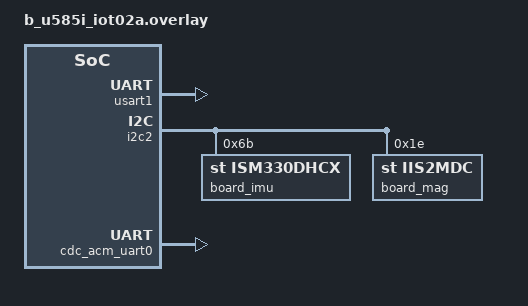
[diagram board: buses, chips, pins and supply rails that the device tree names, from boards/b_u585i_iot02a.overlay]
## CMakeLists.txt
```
cmake_minimum_required(VERSION 3.13.1)
list(APPEND ZEPHYR_EXTRA_MODULES ${CMAKE_CURRENT_SOURCE_DIR}/micro_ros_zephyr_module/modules/libmicroros)
find_package(Zephyr REQUIRED HINTS $ENV{ZEPHYR_BASE})
project(step_ros)

target_sources(app PRIVATE src/main.c)
target_sources(app PRIVATE src/sensor_node.c)
target_sources(app PRIVATE src/imu_data_producer.c)
target_sources(app PRIVATE src/zsl_fusion_config.c)
```

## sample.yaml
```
sample:
  name: Secure telemetry pipeline ROS2 bridge sample
tests:
  test:
    tags: step
```

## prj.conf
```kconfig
CONFIG_PRINTK=y
CONFIG_SERIAL=y
CONFIG_CBPRINTF_FP_SUPPORT=y

CONFIG_SHELL=y
CONFIG_SHELL_HISTORY=y
CONFIG_SHELL_VT100_COLORS=y

CONFIG_LOG=y
CONFIG_LOG_DEFAULT_LEVEL=4

CONFIG_STEP=y
CONFIG_STEP_PROC_MGR_STACK_SIZE=8192
CONFIG_STEP_POOL_SIZE=4096
CONFIG_MAIN_STACK_SIZE=8192
CONFIG_STEP_PROC_MGR_PRIORITY=-4

# Sets the I2C plus sensor subsystem
CONFIG_I2C=y
CONFIG_I2C_SHELL=y
CONFIG_SHELL=y
CONFIG_SENSOR=y

# For the zephyr scientific library
CONFIG_ZSL=y
CONFIG_FPU=y
CONFIG_NEWLIB_LIBC=y

#Micro ROS settings
CONFIG_MICROROS=y

CONFIG_NEWLIB_LIBC=y
CONFIG_NEWLIB_LIBC_NANO=n
CONFIG_PTHREAD_IPC=n

CONFIG_POSIX_API=y
CONFIG_APP_LINK_WITH_POSIX_SUBSYS=y
CONFIG_POSIX_CLOCK=y

CONFIG_STDOUT_CONSOLE=y
CONFIG_SERIAL=y
CONFIG_UART_INTERRUPT_DRIVEN=y
CONFIG_UART_LINE_CTRL=y
CONFIG_RING_BUFFER=y

# uses micro ROS over USB:
CONFIG_MICROROS_TRANSPORT_SERIAL=n
CONFIG_MICROROS_TRANSPORT_SERIAL_USB=y
```

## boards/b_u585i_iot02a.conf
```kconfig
CONFIG_ISM330DHCX=y
CONFIG_IIS2MDC=y
CONFIG_IIS2MDC_TRIGGER_NONE=y

CONFIG_USB_DEVICE_STACK=y
CONFIG_USB_DEVICE_PRODUCT="STeP to ROS bridge"
CONFIG_LOG=y
CONFIG_USB_CDC_ACM=y
CONFIG_USB_DRIVER_LOG_LEVEL_ERR=y
CONFIG_USB_DEVICE_LOG_LEVEL_ERR=y
CONFIG_USB_CDC_ACM_RINGBUF_SIZE=2048
```

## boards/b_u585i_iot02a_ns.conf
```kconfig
CONFIG_ISM330DHCX=y
CONFIG_IIS2MDC=y
CONFIG_IIS2MDC_TRIGGER_NONE=y
```

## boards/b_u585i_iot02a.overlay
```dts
/*
 * SPDX-License-Identifier: Apache-2.0
 *
 * Copyright (c) 2022 Linaro
 */
/ {
    aliases {
        uros-serial-port = &usart1;
    };
};

&usart1 {
    status = "okay";
};

&i2c2 {
	status = "okay";

	board_imu: ism330dhcx@6b {
		compatible = "st,ism330dhcx";
		reg = <0x6B>;
	};

	board_mag: iis2mdc@1e {
		compatible = "st,iis2mdc";
		reg = <0x1E>;
	};
};

&zephyr_udc0 {
    cdc_acm_uart0: cdc_acm_uart0 {
            compatible = "zephyr,cdc-acm-uart";
            label = "CDC_ACM_0";
    };
};
```

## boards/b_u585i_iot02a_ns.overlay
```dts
/*
 * SPDX-License-Identifier: Apache-2.0
 *
 * Copyright (c) 2022 Linaro
 */
/ {
    aliases {
        uros-serial-port = &usart1;
    };
};

&usart1 {
    status = "okay";
};

&i2c2 {
	status = "okay";

	board_imu: ism330dhcx@6b {
		compatible = "st,ism330dhcx";
		reg = <0x6B>;
	};

	board_mag: iis2mdc@1e {
		compatible = "st,iis2mdc";
		reg = <0x1E>;
	};
};

&zephyr_udc0 {
    cdc_acm_uart0: cdc_acm_uart0 {
            compatible = "zephyr,cdc-acm-uart";
            label = "CDC_ACM_0";
    };
};
```

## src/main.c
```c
/*
 * Copyright (c) 2022 Linaro
 *
 * SPDX-License-Identifier: Apache-2.0
 */

#include <zephyr/kernel.h>>
#include <stdlib.h>
#include <string.h>
#include <step/step.h>
#include <step/proc_mgr.h>
#include <step/sample_pool.h>
#include <zephyr/shell/shell.h>
#include "sensor_node.h"
#include "imu_data_producer.h"
#include "zsl_fusion_config.h"

void on_imu_data_production(struct imu_data_payload *imu)
{
	struct step_measurement *imu_measurement = step_sp_alloc(sizeof(*imu));

	if(imu_measurement == NULL) {
		return;
	}

	imu->streamable = true;

	/* fill measurements information before publishing: */
	imu_measurement->header.filter_bits = imu_measurement_header.filter_bits;
	imu_measurement->header.unit_bits = imu_measurement_header.unit_bits;
	imu_measurement->header.srclen_bits = imu_measurement_header.srclen_bits;

	/* fill data gathered by the imu */
	memcpy(imu_measurement->payload, imu, sizeof(*imu));

	/* publish sensor measurement to be processed by the waiters */
	step_pm_put(imu_measurement);
}

void main(void)
{
	uint32_t handle;

	int rc = step_pm_register(sensor_node_chain, 0, &handle);
	if (rc) {
		printk("Node registration failed!\n");
		return;
	}

	/* then start the imu data producer */
	rc = imu_producer_start(on_imu_data_production);
	if (rc) {
		printk("IMU producer start failed!\n");
		return;
	}

}
```

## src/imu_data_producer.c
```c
/*
 * Copyright (c) 2022 Linaro
 *
 * SPDX-License-Identifier: Apache-2.0
 */
#include <zephyr/kernel.h>
#include <zephyr/device.h>
#include <zephyr/drivers/sensor.h>
#include <zephyr/logging/log.h>
#include "imu_data_producer.h"
#include "zsl_fusion_config.h"

LOG_MODULE_REGISTER(imu_data_producer);

static const struct device *imu_dev = DEVICE_DT_GET(DT_NODELABEL(board_imu));
static const struct device *mag_dev = DEVICE_DT_GET(DT_NODELABEL(board_mag));
static bool imu_calibrated = false;
static fusion_sensor_data_callback_t imu_user_callback = NULL;
ZSL_VECTOR_DEF(gyro_offset_correcton, 3);

/* create the imu measurement header */
const struct step_mes_header imu_measurement_header = {
	/* Filter word. */
	.filter = {
		.base_type = STEP_MES_TYPE_ORIENTATION,
		.flags = {
			.timestamp = STEP_MES_TIMESTAMP_UPTIME_MS_32,
		},
	},
	/* SI Unit word. */
	.unit = {
		.si_unit = STEP_MES_UNIT_SI_RADIAN,
		.ctype = STEP_MES_UNIT_CTYPE_IEEE754_FLOAT32,
		.scale_factor = STEP_MES_SI_SCALE_NONE,
	},
	/* Source/Len word. */
	.srclen = {
		.len = sizeof(struct imu_data_payload),
		.vec_sz = 3,
		.sourceid = 2,
	}
};

/* imu measurement thread. */
static void imu_sample_thread(void *arg);
K_THREAD_DEFINE(imu_sample_tid, 8192, imu_sample_thread, NULL, NULL, NULL, -1, 0, 0);

static inline float imu_zephyr_sensor_to_float(struct sensor_value *val)
{
	return (float)val->val1 + (float)val->val2 / 1000000;
}

static void imu_fetch_data(struct imu_data_payload *imu)
{
	struct sensor_value x, y, z;

	/* float data is more convenient to deal with fusion
		* processing, so after fetching, map the sensor data
		* to float
		*/
	sensor_sample_fetch_chan(imu_dev, SENSOR_CHAN_ACCEL_XYZ);
	sensor_channel_get(imu_dev, SENSOR_CHAN_ACCEL_X, &x);
	sensor_channel_get(imu_dev, SENSOR_CHAN_ACCEL_Y, &y);
	sensor_channel_get(imu_dev, SENSOR_CHAN_ACCEL_Z, &z);

	imu->imu_accel_x = imu_zephyr_sensor_to_float(&x);
	imu->imu_accel_y = imu_zephyr_sensor_to_float(&y);
	imu->imu_accel_z = imu_zephyr_sensor_to_float(&z);

	sensor_sample_fetch_chan(imu_dev, SENSOR_CHAN_GYRO_XYZ);
	sensor_channel_get(imu_dev, SENSOR_CHAN_GYRO_X, &x);
	sensor_channel_get(imu_dev, SENSOR_CHAN_GYRO_Y, &y);
	sensor_channel_get(imu_dev, SENSOR_CHAN_GYRO_Z, &z);

	imu->imu_gyro_x = imu_zephyr_sensor_to_float(&x);
	imu->imu_gyro_y = imu_zephyr_sensor_to_float(&y);
	imu->imu_gyro_z = imu_zephyr_sensor_to_float(&z);

	sensor_sample_fetch_chan(mag_dev, SENSOR_CHAN_MAGN_XYZ);
	sensor_channel_get(mag_dev, SENSOR_CHAN_MAGN_X, &x);
	sensor_channel_get(mag_dev, SENSOR_CHAN_MAGN_Y, &y);
	sensor_channel_get(mag_dev, SENSOR_CHAN_MAGN_Z, &z);

	imu->imu_mag_x = imu_zephyr_sensor_to_float(&x) * 0.01;
	imu->imu_mag_y = imu_zephyr_sensor_to_float(&y) * 0.01;
	imu->imu_mag_z = imu_zephyr_sensor_to_float(&z) * 0.01;

	imu->timestamp = k_uptime_get_32();

	/* mag plus gyro were calibrated, so correct them */
	if(imu_calibrated) {
		ZSL_VECTOR_DEF(gyro_sample, 3);

		/* correct the gyro samples */
		gyro_sample.data[0] = imu->imu_gyro_x;
		gyro_sample.data[1] = imu->imu_gyro_y;
		gyro_sample.data[2] = imu->imu_gyro_z;

		gyro_sample.data[0] -= gyro_offset_correcton.data[0];
		gyro_sample.data[1] -= gyro_offset_correcton.data[1];
		gyro_sample.data[2] -= gyro_offset_correcton.data[2];

		imu->imu_gyro_x = gyro_sample.data[0];
		imu->imu_gyro_y = gyro_sample.data[1];
		imu->imu_gyro_z = gyro_sample.data[2];

	}
}

static void imu_set_data_rate(void) 
{
    int rc = 0;
	struct sensor_value odr_attr;

    /* sets the output data rate to 100Hz */
	odr_attr.val1 = 104;
	odr_attr.val2 = 0;

	rc = sensor_attr_set(imu_dev, SENSOR_CHAN_ACCEL_XYZ,
			SENSOR_ATTR_SAMPLING_FREQUENCY, &odr_attr);
	if (rc != 0) {
		printk("Cannot set sampling frequency for accelerometer.\n");
	}

	rc = sensor_attr_set(imu_dev, SENSOR_CHAN_GYRO_XYZ,
			SENSOR_ATTR_SAMPLING_FREQUENCY, &odr_attr);
	if (rc != 0) {
		printk("Cannot set sampling frequency for gyro.\n");
	}

    /* sets the output data rate to 100Hz */
	odr_attr.val1 = 100;
	odr_attr.val2 = 0;

	rc = sensor_attr_set(mag_dev, SENSOR_CHAN_MAGN_XYZ,
			SENSOR_ATTR_SAMPLING_FREQUENCY, &odr_attr);
	if (rc != 0) {
		printk("Cannot set sampling frequency for gyro.\n");
	}
}

static void imu_sample_thread(void *arg) 
{
    struct imu_data_payload measurement;

    imu_set_data_rate();
	imu_producer_calibrate();

    for(;;) {
        imu_fetch_data(&measurement);
        
        /* defer the measured data to the application callback*/
        if(imu_user_callback) {
            imu_user_callback(&measurement);
        }

		k_sleep(K_MSEC(10));
    }
}

int imu_producer_start(fusion_sensor_data_callback_t cb)
{
	while(!imu_calibrated) {
		k_sleep(K_MSEC(1));
	}

    imu_user_callback = cb;
    return 0;
}

void imu_producer_calibrate(void)
{
	ZSL_VECTOR_DEF(gyro_sample, 3);
	struct imu_data_payload imu;

	imu_calibrated = false;

	LOG_INF("Calibrating gyro, please place the board in flat surface and wait up 5 seconds!");
	k_sleep(K_MSEC(2));

	zsl_vec_init(&gyro_sample);

	/* takes up 2 seconds of gyro samples in standstill */
	for(int i = 0; i < 200; i++) {

		imu_fetch_data(&imu);
		gyro_sample.data[0] += imu.imu_gyro_x;
		gyro_sample.data[1] += imu.imu_gyro_y;
		gyro_sample.data[2] += imu.imu_gyro_z;
		k_sleep(K_MSEC(10));
	}

	/* compute the mean of each component */
	zsl_vec_scalar_div(&gyro_sample, 200.);

	/* sets the offset correction vector */
	zsl_vec_copy(&gyro_offset_correcton, &gyro_sample);

	LOG_INF("Gyro offset correction vector: %f, %f, %f",
		gyro_sample.data[0],
		gyro_sample.data[1],
		gyro_sample.data[2]);

	fusion_driver.init_handler(104, fusion_driver.config);

	imu_calibrated = true;
}
```

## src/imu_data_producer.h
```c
/*
 * Copyright (c) 2022 Linaro
 *
 * SPDX-License-Identifier: Apache-2.0
 */

#ifndef FUSION_DATA_PRODUCER_H__
#define FUSION_DATA_PRODUCER_H__

#ifdef __cplusplus
extern "C" {
#endif

#include <zephyr/kernel.h>
#include <stdlib.h>
#include <stdbool.h>
#include <step/step.h>
#include <step/measurement/measurement.h>
#include <step/measurement/ext_orientation.h>
#include <zsl/zsl.h>
#include <zsl/orientation/fusion/calibration.h>

struct imu_data_payload {
    uint32_t timestamp;
    bool streamable;

    float imu_accel_x;
    float imu_accel_y;
    float imu_accel_z;

    float imu_gyro_x;
    float imu_gyro_y;
    float imu_gyro_z;

    float imu_mag_x;
    float imu_mag_y;
    float imu_mag_z;
};

typedef void (*fusion_sensor_data_callback_t) (struct imu_data_payload *imu);

/**
 * @brief Initializes the imu data producer.
 * 
 * @param cb user callback to be executed each new imu data arrival.
 * 
 * @return int  0 on success, otherwise a negative error code.
 * 
 */
int imu_producer_start(fusion_sensor_data_callback_t cb);

/**
 * @brief Perofms the imu sensor calibration.
 */

void imu_producer_calibrate(void);

/**
 * @brief Pre-populated measurement header to copy into allocated measurements.
 */
extern const struct step_mes_header imu_measurement_header;

#ifdef __cplusplus
}
#endif
#endif
```

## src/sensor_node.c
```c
/*
 * Copyright (c) 2022 Linaro
 *
 * SPDX-License-Identifier: Apache-2.0
 */
#include <zephyr/kernel.h>
#include <stdio.h>
#include <time.h>
#include <zephyr/device.h>
#include <zephyr/devicetree.h>
#include <zephyr/drivers/gpio.h>

#include <zephyr/logging/log.h>
#include <step/proc_mgr.h>

#include <rcl/rcl.h>
#include <rcl/error_handling.h>
#include <geometry_msgs/msg/quaternion.h>

#include <rclc/rclc.h>
#include <rclc/executor.h>

#include <rmw_microros/rmw_microros.h>
#include <microros_transports.h>

#include "imu_data_producer.h"
#include "zsl_fusion_config.h"

/* micro ros client building blocks :*/
static rcl_publisher_t publisher;
static rcl_allocator_t allocator;
static rclc_support_t support;
static rcl_init_options_t init_options;
static rcl_node_t node;
static rclc_executor_t executor;
static int micro_ros_result = RCL_RET_ERROR;

/* message to send data via quaternion */
static geometry_msgs__msg__Quaternion ros_quaternion;

int sensor_init(void *cfg, uint32_t handle, uint32_t inst)
{

	/* transport over serial, or usb-cdc when available */
	rmw_uros_set_custom_transport(
		MICRO_ROS_FRAMING_REQUIRED,
		(void *)DEVICE_DT_GET(DT_ALIAS(uros_serial_port)),
		zephyr_transport_open,
		zephyr_transport_close,
		zephyr_transport_write,
		zephyr_transport_read
	);

	allocator = rcl_get_default_allocator();
	init_options = rcl_get_zero_initialized_init_options();
	rcl_init_options_init(&init_options, allocator);
	rcl_init_options_get_rmw_init_options(&init_options);
	rclc_support_init_with_options(&support, 0, NULL, &init_options, &allocator);
	rclc_node_init_default(&node, "step_imu_sensor_node", "", &support);

	micro_ros_result = rclc_publisher_init_default(
		&publisher,
		&node,
		ROSIDL_GET_MSG_TYPE_SUPPORT(geometry_msgs, msg, Quaternion),
		"sensor/step/imu/quaternion");
	
	micro_ros_result = rclc_executor_init(&executor, &support.context, 1, &allocator);

	return 0;
}

int sensor_do_process(struct step_measurement *mes, uint32_t handle, uint32_t inst)
{
	struct zsl_quat q = { .r = 1.0, .i = 0.0, .j = 0.0, .k = 0.0 };
	struct imu_data_payload *imu = mes->payload;

	ZSL_VECTOR_DEF(av, 3);
	ZSL_VECTOR_DEF(gv, 3);

	av.data[0] = imu->imu_accel_x;
	av.data[1] = imu->imu_accel_y;
	av.data[2] = imu->imu_accel_z;

	gv.data[0] = imu->imu_gyro_x;
	gv.data[1] = imu->imu_gyro_y;
	gv.data[2] = imu->imu_gyro_z;

	fusion_driver.feed_handler(&av,
							NULL,
							&gv,
							NULL,
							&q, 
							fusion_driver.config);
	
	ros_quaternion.x = q.i;
	ros_quaternion.y = q.j;
	ros_quaternion.z = q.k;
	ros_quaternion.w = q.r;

	micro_ros_result = rcl_publish(&publisher, &ros_quaternion, NULL);

	return 0;
}

/* Processor node chain. */
struct step_node sensor_node_chain_data[] = {
	/* Root processor node. */
	{
		.name = "Root sensor sample processor node",
		.filters = {
			.count = 1,
			.chain = (struct step_filter[]){
				{
					/* Phase (base type). */
					.match = STEP_MES_TYPE_ORIENTATION,
					.ignore_mask = ~STEP_MES_MASK_FULL_TYPE,
				}
			},
		},

		/* Callbacks */
		.callbacks = {
			.init_handler = sensor_init,
			.exec_handler = sensor_do_process,
		},

		/* Config settings */
		.config = NULL,

		/* Point to next processor node in chain. */
		.next = NULL,
	},
};

/* Pointer to node chain. */
struct step_node *sensor_node_chain = sensor_node_chain_data;
```

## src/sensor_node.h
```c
/*
 * Copyright (c) 2022 Linaro
 *
 * SPDX-License-Identifier: Apache-2.0
 */

#ifndef SENSOR_NODE_H__
#define SENSOR_NODE_H__

#include <stdlib.h>
#include <stdbool.h>
#include <step/step.h>
#include <step/node.h>
#include <step/measurement/measurement.h>


#ifdef __cplusplus
extern "C" {
#endif

extern struct step_node *sensor_node_chain;

#ifdef __cplusplus
}
#endif

#endif /* SENSOR_NODE_H__ */
```

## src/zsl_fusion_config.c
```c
/*
 * Copyright (c) 2022 Linaro
 *
 * SPDX-License-Identifier: Apache-2.0
 */

#include "zsl_fusion_config.h"

static zsl_real_t _mahn_intfb[3] = { 0.0, 0.0, 0.0 };
struct zsl_fus_mahn_cfg mahn_cfg = {
	.kp = 200,
	.ki = 0.02200,
	.integral_limit = 1000.0f,
	.intfb = {
		.sz = 3,
		.data = _mahn_intfb,
	},
};

const struct zsl_fus_drv fusion_driver = {
	.init_handler = zsl_fus_mahn_init,
	.feed_handler = zsl_fus_mahn_feed,
	.error_handler = zsl_fus_mahn_error,
	.config = &mahn_cfg,
};
```

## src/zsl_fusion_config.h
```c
/*
 * Copyright (c) 2022 Linaro
 *
 * SPDX-License-Identifier: Apache-2.0
 */

#ifndef __ZSL_KALMAN_CONFIG_H
#define __ZSL_KALMAN_CONFIG_H

#include <zsl/zsl.h>
#include <zsl/orientation/fusion/fusion.h>
#include <zsl/orientation/orientation.h>

extern struct zsl_fus_mahn_cfg mahn_cfg;
extern const struct zsl_fus_drv fusion_driver;

#endif
```
